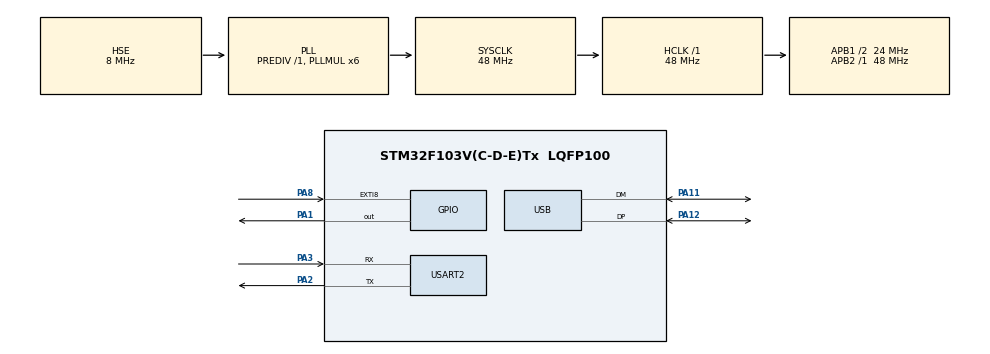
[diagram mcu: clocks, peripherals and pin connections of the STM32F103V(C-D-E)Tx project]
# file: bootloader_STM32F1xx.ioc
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Mcu.Family=STM32F1
Mcu.Name=STM32F103V(C-D-E)Tx
Mcu.Package=LQFP100
NVIC.PriorityGroup=NVIC_PRIORITYGROUP_4
NVIC.USB_LP_CAN1_RX0_IRQn=true\:0\:0\:false\:false\:true\:false
OSC_IN.Mode=HSE-External-Oscillator
OSC_IN.Signal=RCC_OSC_IN
OSC_OUT.Mode=HSE-External-Oscillator
OSC_OUT.Signal=RCC_OSC_OUT
PA1.Signal=GPIO_Output
PA11.Mode=Device
PA11.Signal=USB_DM
PA12.Mode=Device
PA12.Signal=USB_DP
PA13.Mode=Serial_Wire
PA13.Signal=SYS_JTMS-SWDIO
PA14.Mode=Serial_Wire
PA14.Signal=SYS_JTCK-SWCLK
PA2.Mode=Asynchronous
PA2.Signal=USART2_TX
PA3.Mode=Asynchronous
PA3.Signal=USART2_RX
PA8.Signal=GPXTI8
ProjectManager.HeapSize=0x200
ProjectManager.StackSize=0x400
ProjectManager.TargetToolchain=MDK-ARM V5
RCC.AHBFreq_Value=48000000
RCC.APB1CLKDivider=RCC_HCLK_DIV2
RCC.APB1Freq_Value=24000000
RCC.APB1TimFreq_Value=48000000
RCC.APB2Freq_Value=48000000
RCC.APB2TimFreq_Value=48000000
RCC.HCLKFreq_Value=48000000
RCC.PLLMUL=RCC_PLL_MUL6
RCC.PLLSourceVirtual=RCC_PLLSOURCE_HSE
RCC.SYSCLKFreq_VALUE=48000000
RCC.SYSCLKSource=RCC_SYSCLKSOURCE_PLLCLK
RCC.USBFreq_Value=48000000
USART2.VirtualMode=VM_ASYNC
USB_DEVICE.CLASS_NAME_FS=CDC
USB_DEVICE.VirtualMode=Cdc
USB_DEVICE.VirtualModeFS=Cdc_FS
VP_CRC_VS_CRC.Mode=CRC_Activate
VP_USB_DEVICE_VS_USB_DEVICE_CDC_FS.Mode=CDC_FS
board=custom

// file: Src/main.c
/* USER CODE BEGIN Header */
/**
  ******************************************************************************
  * @file           : main.c
  * @brief          : Main program body
  ******************************************************************************
  ** This notice applies to any and all portions of this file
  * that are not between comment pairs USER CODE BEGIN and
  * USER CODE END. Other portions of this file, whether
  * inserted by the user or by software development tools
  * are owned by their respective copyright owners.
  *
  * COPYRIGHT(c) 2019 STMicroelectronics
  *
  * Redistribution and use in source and binary forms, with or without modification,
  * are permitted provided that the following conditions are met:
  *   1. Redistributions of source code must retain the above copyright notice,
  *      this list of conditions and the following disclaimer.
  *   2. Redistributions in binary form must reproduce the above copyright notice,
  *      this list of conditions and the following disclaimer in the documentation
  *      and/or other materials provided with the distribution.
  *   3. Neither the name of STMicroelectronics nor the names of its contributors
  *      may be used to endorse or promote products derived from this software
  *      without specific prior written permission.
  *
  * THIS SOFTWARE IS PROVIDED BY THE COPYRIGHT HOLDERS AND CONTRIBUTORS "AS IS"
  * AND ANY EXPRESS OR IMPLIED WARRANTIES, INCLUDING, BUT NOT LIMITED TO, THE
  * IMPLIED WARRANTIES OF MERCHANTABILITY AND FITNESS FOR A PARTICULAR PURPOSE ARE
  * DISCLAIMED. IN NO EVENT SHALL THE COPYRIGHT HOLDER OR CONTRIBUTORS BE LIABLE
  * FOR ANY DIRECT, INDIRECT, INCIDENTAL, SPECIAL, EXEMPLARY, OR CONSEQUENTIAL
  * DAMAGES (INCLUDING, BUT NOT LIMITED TO, PROCUREMENT OF SUBSTITUTE GOODS OR
  * SERVICES; LOSS OF USE, DATA, OR PROFITS; OR BUSINESS INTERRUPTION) HOWEVER
  * CAUSED AND ON ANY THEORY OF LIABILITY, WHETHER IN CONTRACT, STRICT LIABILITY,
  * OR TORT (INCLUDING NEGLIGENCE OR OTHERWISE) ARISING IN ANY WAY OUT OF THE USE
  * OF THIS SOFTWARE, EVEN IF ADVISED OF THE POSSIBILITY OF SUCH DAMAGE.
  *
  ******************************************************************************
  */
/* USER CODE END Header */

#include "main.h"
#include "usb_device.h"

/* USER CODE BEGIN Includes */
#include <stdarg.h>
#include <string.h>
#include <stdint.h>
#include "usbd_cdc.h"
#include "flash_if.h"
/* USER CODE END Includes */

/* USER CODE BEGIN PD */
#define C_UART &huart2
#define BL_RX_LEN 200
/* USER CODE END PD */

CRC_HandleTypeDef hcrc;

UART_HandleTypeDef huart2;

/* USER CODE BEGIN PV */
uint8_t bl_version = 10;
uint8_t bl_rx_buffer[BL_RX_LEN];
uint8_t supported_commands[] = {
    BL_GET_VER,
    BL_GET_HELP,
    BL_GET_CID,
    BL_GET_RDP_STATUS,
    BL_GO_TO_ADDR,
    BL_FLASH_ERASE,
    BL_MEM_WRITE,
    BL_READ_SECTOR_P_STATUS};

/* USER CODE END PV */

void SystemClock_Config(void);
static void MX_GPIO_Init(void);
static void MX_CRC_Init(void);
static void MX_USART2_UART_Init(void);
/* USER CODE BEGIN PFP */
static void printmsg(char *format, ...);
/* USER CODE END PFP */

/* USER CODE BEGIN 0 */
/* prints formatted string to console over UART */
void printmsg(char *format, ...)
{
#ifdef BL_DEBUG_MSG_EN
  char str[80];

  /*Extract the the argument list using VA apis */
  va_list args;
  va_start(args, format);
  vsprintf(str, format, args);
  // HAL_UART_Transmit(C_UART, (uint8_t *)str, strlen(str), HAL_MAX_DELAY);
  if (((USBD_CDC_HandleTypeDef *)(hUsbDeviceFS.pClassData))->TxState == 0)
  {
    /* Transmiting data to USB over CDC interface */
    /* (Browse through usbd_cdc_if.c file for the correct function to use */
    /* uint8_t CDC_Transmit_FS(uint8_t* Buf, uint16_t Len) */
    CDC_Transmit_FS((uint8_t *)str, strlen(str));
  }
  va_end(args);
#endif
}

/* USER CODE END 0 */

int main(void)
{

  /* MCU Configuration--------------------------------------------------------*/

  /* Reset of all peripherals, Initializes the Flash interface and the Systick. */
  HAL_Init();

  /* Configure the system clock */
  SystemClock_Config();

  /* Initialize all configured peripherals */
  MX_GPIO_Init();
  MX_CRC_Init();
  MX_USART2_UART_Init();
  MX_USB_DEVICE_Init();

  /* Infinite loop */
  while (1)
  {

    /* USER CODE BEGIN 3 */
    /* Lets check whether button is pressed or not, if not pressed jump to user application */
    if (HAL_GPIO_ReadPin(B1_GPIO_Port, B1_Pin) == GPIO_PIN_RESET)
    {
      printmsg("BL_DEBUG_MSG:Button is pressed .. going to BL mode\n\r");
      HAL_Delay(1000);

      //we should continue in bootloader mode
      bootloader_uart_read_data();
    }
    else
    {
      printmsg("BL_DEBUG_MSG:Button is not pressed .. executing user app\n\r");
      // printmsg("BL_DEBUG_MSG:BL_VER : %d %#x\n\r", bl_version, bl_version);
      HAL_Delay(1000);
      // jump to user application
      // bootloader_jump_to_user_app();
    }
  }
  /* USER CODE END 3 */
}

void SystemClock_Config(void)
{
  RCC_OscInitTypeDef RCC_OscInitStruct = {0};
  RCC_ClkInitTypeDef RCC_ClkInitStruct = {0};
  RCC_PeriphCLKInitTypeDef PeriphClkInit = {0};

  /**Initializes the CPU, AHB and APB busses clocks
  */
  RCC_OscInitStruct.OscillatorType = RCC_OSCILLATORTYPE_HSE;
  RCC_OscInitStruct.HSEState = RCC_HSE_ON;
  RCC_OscInitStruct.HSEPredivValue = RCC_HSE_PREDIV_DIV1;
  RCC_OscInitStruct.HSIState = RCC_HSI_ON;
  RCC_OscInitStruct.PLL.PLLState = RCC_PLL_ON;
  RCC_OscInitStruct.PLL.PLLSource = RCC_PLLSOURCE_HSE;
  RCC_OscInitStruct.PLL.PLLMUL = RCC_PLL_MUL6;
  if (HAL_RCC_OscConfig(&RCC_OscInitStruct) != HAL_OK)
  {
    Error_Handler();
  }
  /**Initializes the CPU, AHB and APB busses clocks
  */
  RCC_ClkInitStruct.ClockType = RCC_CLOCKTYPE_HCLK | RCC_CLOCKTYPE_SYSCLK | RCC_CLOCKTYPE_PCLK1 | RCC_CLOCKTYPE_PCLK2;
  RCC_ClkInitStruct.SYSCLKSource = RCC_SYSCLKSOURCE_PLLCLK;
  RCC_ClkInitStruct.AHBCLKDivider = RCC_SYSCLK_DIV1;
  RCC_ClkInitStruct.APB1CLKDivider = RCC_HCLK_DIV2;
  RCC_ClkInitStruct.APB2CLKDivider = RCC_HCLK_DIV1;

  if (HAL_RCC_ClockConfig(&RCC_ClkInitStruct, FLASH_LATENCY_1) != HAL_OK)
  {
    Error_Handler();
  }
  PeriphClkInit.PeriphClockSelection = RCC_PERIPHCLK_USB;
  PeriphClkInit.UsbClockSelection = RCC_USBCLKSOURCE_PLL;
  if (HAL_RCCEx_PeriphCLKConfig(&PeriphClkInit) != HAL_OK)
  {
    Error_Handler();
  }
}

static void MX_CRC_Init(void)
{

  hcrc.Instance = CRC;
  if (HAL_CRC_Init(&hcrc) != HAL_OK)
  {
    Error_Handler();
  }
}

static void MX_USART2_UART_Init(void)
{

  huart2.Instance = USART2;
  huart2.Init.BaudRate = 115200;
  huart2.Init.WordLength = UART_WORDLENGTH_8B;
  huart2.Init.StopBits = UART_STOPBITS_1;
  huart2.Init.Parity = UART_PARITY_NONE;
  huart2.Init.Mode = UART_MODE_TX_RX;
  huart2.Init.HwFlowCtl = UART_HWCONTROL_NONE;
  huart2.Init.OverSampling = UART_OVERSAMPLING_16;
  if (HAL_UART_Init(&huart2) != HAL_OK)
  {
    Error_Handler();
  }
}

static void MX_GPIO_Init(void)
{
  GPIO_InitTypeDef GPIO_InitStruct = {0};

  /* GPIO Ports Clock Enable */
  __HAL_RCC_GPIOA_CLK_ENABLE();

  /*Configure GPIO pin Output Level */
  HAL_GPIO_WritePin(GPIOA, GPIO_PIN_1, GPIO_PIN_RESET);

  /*Configure GPIO pin : PA1 */
  GPIO_InitStruct.Pin = GPIO_PIN_1;
  GPIO_InitStruct.Mode = GPIO_MODE_OUTPUT_PP;
  GPIO_InitStruct.Pull = GPIO_NOPULL;
  GPIO_InitStruct.Speed = GPIO_SPEED_FREQ_LOW;
  HAL_GPIO_Init(GPIOA, &GPIO_InitStruct);

  /*Configure GPIO pin : PA8 */
  GPIO_InitStruct.Pin = GPIO_PIN_8;
  GPIO_InitStruct.Mode = GPIO_MODE_IT_RISING;
  GPIO_InitStruct.Pull = GPIO_NOPULL;
  HAL_GPIO_Init(GPIOA, &GPIO_InitStruct);
}

/* USER CODE BEGIN 4 */
void bootloader_uart_read_data(void)
{
  uint8_t rcv_len = 0;

  while (1)
  {
    memset(bl_rx_buffer, 0, 200);
    //here we will read and decode the commands coming from host
    //first read only one byte from the host , which is the "length" field of the command packet
    HAL_UART_Receive(C_UART, bl_rx_buffer, 1, HAL_MAX_DELAY);
    rcv_len = bl_rx_buffer[0];
    HAL_UART_Receive(C_UART, &bl_rx_buffer[1], rcv_len, HAL_MAX_DELAY);
    switch (bl_rx_buffer[1])
    {
    case BL_GET_VER:
      bootloader_handle_getver_cmd(bl_rx_buffer);
      break;
    case BL_GET_HELP:
      bootloader_handle_gethelp_cmd(bl_rx_buffer);
      break;
    case BL_GET_CID:
      bootloader_handle_getcid_cmd(bl_rx_buffer);
      break;
    case BL_GET_RDP_STATUS:
      // Not support
      // bootloader_handle_getrdp_cmd(bl_rx_buffer);
      break;
    case BL_GO_TO_ADDR:
      bootloader_handle_go_cmd(bl_rx_buffer);
      break;
    case BL_FLASH_ERASE:
      bootloader_handle_flash_erase_cmd(bl_rx_buffer);
      break;
    case BL_MEM_WRITE:
      // bootloader_handle_mem_write_cmd(bl_rx_buffer);
      printmsg("BL_DEBUG_MSG:bootloader_handle_mem_write_cmd\n\r");
      break;
    case BL_EN_RW_PROTECT:
      // bootloader_handle_en_rw_protect(bl_rx_buffer);
      printmsg("BL_DEBUG_MSG:bootloader_handle_en_rw_protect\n\r");
      break;
    case BL_MEM_READ:
      // bootloader_handle_mem_read(bl_rx_buffer);
      printmsg("BL_DEBUG_MSG:bootloader_handle_mem_read\n\r");
      break;
    case BL_READ_SECTOR_P_STATUS:
      // bootloader_handle_read_sector_protection_status(bl_rx_buffer);
      printmsg("BL_DEBUG_MSG:bootloader_handle_read_sector_protection_status\n\r");
      break;
    case BL_OTP_READ:
      // bootloader_handle_read_otp(bl_rx_buffer);
      printmsg("BL_DEBUG_MSG:bootloader_handle_read_otp\n\r");
      break;
    case BL_DIS_R_W_PROTECT:
      // bootloader_handle_dis_rw_protect(bl_rx_buffer);
      printmsg("BL_DEBUG_MSG:bootloader_handle_dis_rw_protect\n\r");
      break;
    default:
      printmsg("BL_DEBUG_MSG:Invalid command code received from host \n\r");
      break;
    }
  }
}
/*Helper function to handle BL_GET_VER command */
void bootloader_handle_getver_cmd(uint8_t *bl_rx_buffer)
{
  uint8_t bl_version;

  // 1) verify the checksum
  printmsg("BL_DEBUG_MSG:bootloader_handle_getver_cmd\n\r");

  //Total length of the command packet
  uint32_t command_packet_len = bl_rx_buffer[0] + 1;

  //extract the CRC32 sent by the Host
  uint32_t host_crc = *((uint32_t *)(bl_rx_buffer + command_packet_len - 4));

  if (!bootloader_verify_crc(&bl_rx_buffer[0], command_packet_len - 4, host_crc))
  {
    printmsg("BL_DEBUG_MSG:checksum success !!\n\r");
    // checksum is correct..
    bootloader_send_ack(bl_rx_buffer[0], 1);
    bl_version = get_bootloader_version();
    printmsg("BL_DEBUG_MSG:BL_VER : %d %#x\n\r", bl_version, bl_version);
    bootloader_uart_write_data(&bl_version, 1);
  }
  else
  {
    printmsg("BL_DEBUG_MSG:checksum fail !!\n\r");
    //checksum is wrong send nack
    bootloader_send_nack();
  }
}

/*Helper function to handle BL_GET_HELP command
 * Bootloader sends out All supported Command codes
 */
void bootloader_handle_gethelp_cmd(uint8_t *pBuffer)
{
  printmsg("BL_DEBUG_MSG:bootloader_handle_gethelp_cmd\n\r");

  //Total length of the command packet
  uint32_t command_packet_len = bl_rx_buffer[0] + 1;

  //extract the CRC32 sent by the Host
  uint32_t host_crc = *((uint32_t *)(bl_rx_buffer + command_packet_len - 4));

  if (!bootloader_verify_crc(&bl_rx_buffer[0], command_packet_len - 4, host_crc))
  {
    printmsg("BL_DEBUG_MSG:checksum success !!\n\r");
    bootloader_send_ack(pBuffer[0], sizeof(supported_commands));
    bootloader_uart_write_data(supported_commands, sizeof(supported_commands));
  }
  else
  {
    printmsg("BL_DEBUG_MSG:checksum fail !!\n\r");
    bootloader_send_nack();
  }
}

/*Helper function to handle BL_GET_CID command */
void bootloader_handle_getcid_cmd(uint8_t *pBuffer)
{
  uint16_t bl_cid_num = 0;
  printmsg("BL_DEBUG_MSG:bootloader_handle_getcid_cmd\n\r");

  //Total length of the command packet
  uint32_t command_packet_len = bl_rx_buffer[0] + 1;

  //extract the CRC32 sent by the Host
  uint32_t host_crc = *((uint32_t *)(bl_rx_buffer + command_packet_len - 4));

  if (!bootloader_verify_crc(&bl_rx_buffer[0], command_packet_len - 4, host_crc))
  {
    printmsg("BL_DEBUG_MSG:checksum success !!\n\r");
    bootloader_send_ack(pBuffer[0], 2);
    bl_cid_num = get_mcu_chip_id();
    printmsg("BL_DEBUG_MSG:MCU id : %d %#x !!\n\r", bl_cid_num, bl_cid_num);
    bootloader_uart_write_data((uint8_t *)&bl_cid_num, 2);
  }
  else
  {
    printmsg("BL_DEBUG_MSG:checksum fail !!\n\r");
    bootloader_send_nack();
  }
}

/*Helper function to handle BL_GO_TO_ADDR command */
void bootloader_handle_go_cmd(uint8_t *pBuffer)
{
  uint32_t go_address = 0;
  uint8_t addr_valid = ADDR_VALID;
  uint8_t addr_invalid = ADDR_INVALID;

  printmsg("BL_DEBUG_MSG:bootloader_handle_go_cmd\n\r");

  //Total length of the command packet
  uint32_t command_packet_len = bl_rx_buffer[0] + 1;

  //extract the CRC32 sent by the Host
  uint32_t host_crc = *((uint32_t *)(bl_rx_buffer + command_packet_len - 4));

  if (!bootloader_verify_crc(&bl_rx_buffer[0], command_packet_len - 4, host_crc))
  {
    printmsg("BL_DEBUG_MSG:checksum success !!\n\r");

    bootloader_send_ack(pBuffer[0], 1);

    //extract the go address
    go_address = *((uint32_t *)&pBuffer[2]);
    printmsg("BL_DEBUG_MSG:GO addr: %#x\n\r", go_address);

    if (verify_address(go_address) == ADDR_VALID)
    {
      //tell host that address is fine
      bootloader_uart_write_data(&addr_valid, 1);

      /*jump to "go" address.
            we dont care what is being done there.
            host must ensure that valid code is present over there
            Its not the duty of bootloader. so just trust and jump */

      /* Not doing the below line will result in hardfault exception for ARM cortex M */
      //watch : https://www.youtube.com/watch?v=VX_12SjnNhY

      go_address += 1; //make T bit =1

      void (*lets_jump)(void) = (void *)go_address;

      printmsg("BL_DEBUG_MSG: jumping to go address! \n");

      lets_jump();
    }
    else
    {
      printmsg("BL_DEBUG_MSG:GO addr invalid ! \n");
      //tell host that address is invalid
      bootloader_uart_write_data(&addr_invalid, 1);
    }
  }
  else
  {
    printmsg("BL_DEBUG_MSG:checksum fail !!\n");
    bootloader_send_nack();
  }
}

/*Helper function to handle BL_FLASH_ERASE command */
void bootloader_handle_flash_erase_cmd(uint8_t *pBuffer)
{
  uint8_t erase_status = 0x00;
  printmsg("BL_DEBUG_MSG:bootloader_handle_flash_erase_cmd\n\r");

  //Total length of the command packet
  uint32_t command_packet_len = bl_rx_buffer[0] + 1;

  //extract the CRC32 sent by the Host
  uint32_t host_crc = *((uint32_t *)(bl_rx_buffer + command_packet_len - 4));

  if (!bootloader_verify_crc(&bl_rx_buffer[0], command_packet_len - 4, host_crc))
  {
    printmsg("BL_DEBUG_MSG:checksum success !!\n\r");
    bootloader_send_ack(pBuffer[0], 1);
    printmsg("BL_DEBUG_MSG:initial_sector : %d  no_ofsectors: %d\n", pBuffer[2], pBuffer[3]);

    HAL_GPIO_WritePin(LD2_GPIO_Port, LD2_Pin, 1);
    erase_status = execute_flash_erase();
    HAL_GPIO_WritePin(LD2_GPIO_Port, LD2_Pin, 0);

    printmsg("BL_DEBUG_MSG: flash erase status: %#x\n\r", erase_status);

    bootloader_uart_write_data(&erase_status, 1);
  }
  else
  {
    printmsg("BL_DEBUG_MSG:checksum fail !!\n\r");
    bootloader_send_nack();
  }
}

/*This function sends ACK if CRC matches along with "len to follow"*/
void bootloader_send_ack(uint8_t command_code, uint8_t follow_len)
{
  //here we send 2 byte.. first byte is ack and the second byte is len value
  uint8_t ack_buf[2];
  ack_buf[0] = BL_ACK;
  ack_buf[1] = follow_len;
  HAL_UART_Transmit(C_UART, ack_buf, 2, HAL_MAX_DELAY);
}

/*This function sends NACK */
void bootloader_send_nack(void)
{
  uint8_t nack = BL_NACK;
  HAL_UART_Transmit(C_UART, &nack, 1, HAL_MAX_DELAY);
}

//This verifies the CRC of the given buffer in pData .
uint8_t bootloader_verify_crc(uint8_t *pData, uint32_t len, uint32_t crc_host)
{
  uint32_t uwCRCValue = 0xff;

  for (uint32_t i = 0; i < len; i++)
  {
    uint32_t i_data = pData[i];
    uwCRCValue = HAL_CRC_Accumulate(&hcrc, &i_data, 1);
  }

  /* Reset CRC Calculation Unit */
  __HAL_CRC_DR_RESET(&hcrc);

  if (uwCRCValue == crc_host)
  {
    return VERIFY_CRC_SUCCESS;
  }

  return VERIFY_CRC_FAIL;
}

/* This function writes data in to C_UART */
void bootloader_uart_write_data(uint8_t *pBuffer, uint32_t len)
{
  /*you can replace the below ST's USART driver API call with your MCUs driver API call */
  HAL_UART_Transmit(C_UART, pBuffer, len, HAL_MAX_DELAY);
}

//Just returns the macro value .
uint8_t get_bootloader_version(void)
{
  return (uint8_t)BL_VERSION;
}
//Read the chip identifier or device Identifier
uint16_t get_mcu_chip_id(void)
{
  /*
The STM32F10xxx MCUs integrate an MCU ID code. This ID identifies the ST MCU partnumber
and the die revision. It is part of the DBG_MCU component and is mapped on the
external PPB bus (see Section 31.16 on page 1102). This code is accessible using the
JTAG debug port (4 to 5 pins) or the SW debug port (two pins) or by the user software. It is
even accessible while the MCU is under system reset.
The DBGMCU_IDCODE and DBGMCU_CR debug registers are accessible only in debug mode (not accessible by the user software).When these registers are read in user mode,the returned value is 0x00.
*/
  uint16_t cid;
  cid = (uint16_t)(DBGMCU->IDCODE) & 0x0FFF;
  return cid;
}

//verify the address sent by the host .
uint8_t verify_address(uint32_t go_address)
{
  //so, what are the valid addresses to which we can jump ?
  //can we jump to system memory ? yes
  //can we jump to sram memory ?  yes
  //can we jump to peripheral memory ? its possible , but dont allow. so no
  //can we jump to external memory ? yes.

  //incomplete -poorly written .. optimize it
  if (go_address >= SRAM_BASE && go_address <= SRAM_END)
  {
    return ADDR_VALID;
  }
  else if (go_address >= FLASH_BASE && go_address <= FLASH_BANK1_END)
  {
    return ADDR_VALID;
  }
  else
    return ADDR_INVALID;
}
uint8_t execute_flash_erase(void)
{
  //we have totally 8 sectors in STM32F446RE mcu .. sector[0 to 7]
  //number_of_sector has to be in the range of 0 to 7
  // if sector_number = 0xff , that means mass erase !
  //Code needs to modified if your MCU supports more flash sectors
  // FLASH_EraseInitTypeDef flashErase_handle;
  uint8_t result;
  // HAL_StatusTypeDef status;
  result = FLASH_If_Erase(APPLICATION_ADDRESS);
  return result;
}
/* USER CODE END 4 */

void Error_Handler(void)
{
}

/************************ (C) COPYRIGHT STMicroelectronics *****END OF FILE****/
